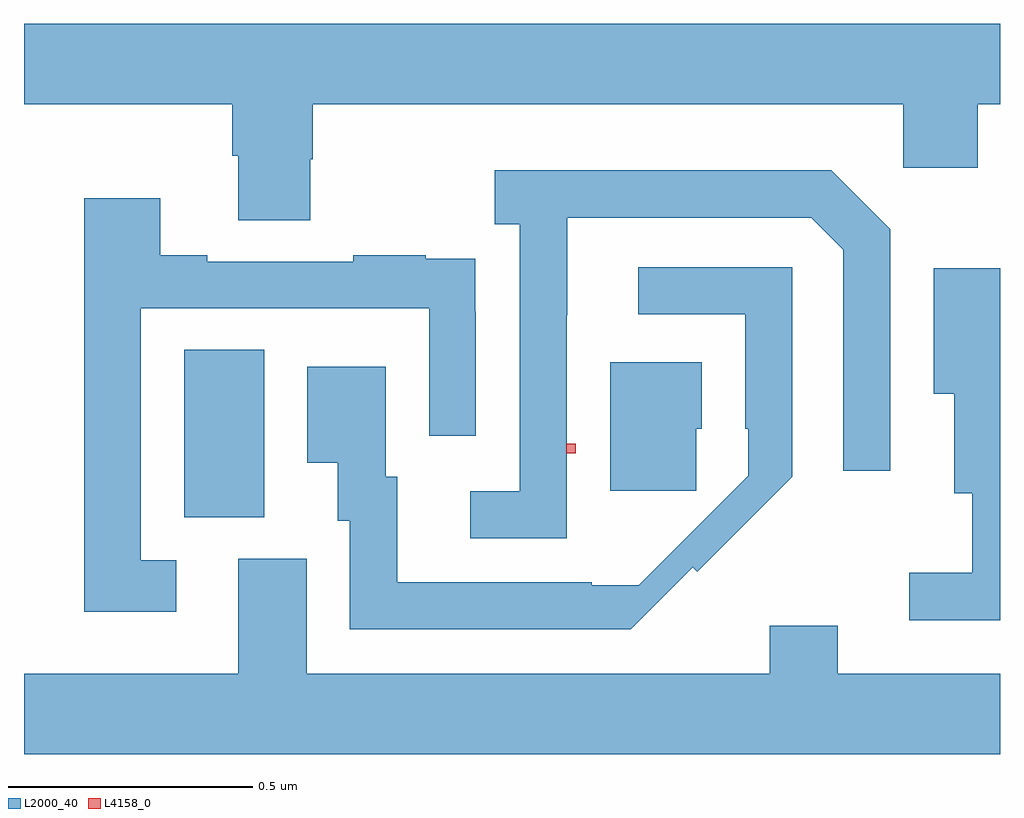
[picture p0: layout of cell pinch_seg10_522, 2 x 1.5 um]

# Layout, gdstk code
import gdstk
lib = gdstk.Library(unit=1e-6, precision=1e-09)
def R(c, l, rs):  # rectangles x0, y0, x1, y1
    for r in rs: c.add(gdstk.rectangle(r[:2], r[2:], *l))
def P(c, l, *ps):  # polygons
    for p in ps: c.add(gdstk.Polygon(p, *l))
L2000_40 = (2000, 40)
L4158_0 = (4158, 0)

pinch_seg10_522 = lib.new_cell('pinch_seg10_522')
R(pinch_seg10_522, L2000_40, [(369.782,1288.813,369.946,1289.156)])
P(pinch_seg10_522, L2000_40, [(370.041,1289.547),(370.046,1289.547),(370.046,1289.66),(371.256,1289.66),(371.256,1289.529),(371.408,1289.529),(371.408,1289.66),(371.454,1289.66),(371.454,1289.824),(369.454,1289.824),(369.454,1289.66),(369.881,1289.66),(369.881,1289.554),(369.893,1289.554),(369.893,1289.422),(370.041,1289.422)],
  [(370.566,1289.227),(370.567,1289.227),(370.567,1289.427),(371.067,1289.427),(371.133,1289.361),(371.133,1288.908),(371.229,1288.908),(371.229,1289.403),(371.108,1289.524),(370.419,1289.524),(370.419,1289.414),(370.47,1289.414),(370.47,1288.866),(370.368,1288.866),(370.368,1288.77),(370.566,1288.77)],
  [(369.766,1288.725),(369.693,1288.725),(369.693,1289.241),(370.284,1289.241),(370.284,1288.98),(370.38,1288.98),(370.38,1289.234),(370.379,1289.234),(370.379,1289.343),(370.277,1289.343),(370.277,1289.35),(370.129,1289.35),(370.129,1289.337),(369.829,1289.337),(369.829,1289.35),(369.733,1289.35),(369.733,1289.467),(369.577,1289.467),(369.577,1288.62),(369.766,1288.62)],
  [(370.824,1288.711),(370.834,1288.702),(371.028,1288.896),(371.028,1289.325),(370.713,1289.325),(370.713,1289.229),(370.932,1289.229),(370.932,1288.995),(370.938,1288.995),(370.938,1288.898),(370.714,1288.674),(370.617,1288.674),(370.617,1288.68),(370.219,1288.68),(370.219,1288.896),(370.195,1288.896),(370.195,1289.122),(370.034,1289.122),(370.034,1288.925),(370.097,1288.925),(370.097,1288.806),(370.122,1288.806),(370.122,1288.584),(370.697,1288.584)],
  [(371.454,1289.323),(371.318,1289.323),(371.318,1289.066),(371.36,1289.066),(371.36,1288.862),(371.397,1288.862),(371.397,1288.699),(371.268,1288.699),(371.268,1288.602),(371.454,1288.602)],
  [(370.832,1288.995),(370.843,1288.995),(370.843,1289.131),(370.655,1289.131),(370.655,1288.867),(370.832,1288.867)],
  [(371.454,1288.492),(371.122,1288.492),(371.122,1288.591),(370.982,1288.591),(370.982,1288.492),(370.033,1288.492),(370.033,1288.728),(369.893,1288.728),(369.893,1288.492),(369.454,1288.492),(369.454,1288.328),(371.454,1288.328)])
R(pinch_seg10_522, L4158_0, [(370.565,1288.944,370.585,1288.964)])

lib.write_gds('pinch_seg10_522.gds')
